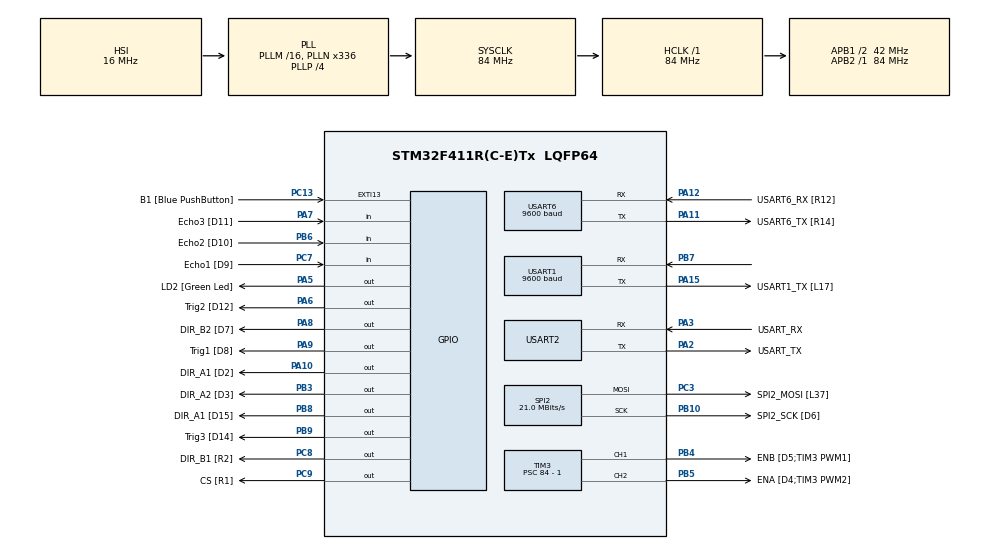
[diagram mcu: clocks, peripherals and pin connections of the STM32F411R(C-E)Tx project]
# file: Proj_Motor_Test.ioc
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Dma.Request0=USART6_RX
Dma.USART6_RX.0.Direction=DMA_PERIPH_TO_MEMORY
Dma.USART6_RX.0.FIFOMode=DMA_FIFOMODE_DISABLE
Dma.USART6_RX.0.Instance=DMA2_Stream1
Dma.USART6_RX.0.MemDataAlignment=DMA_MDATAALIGN_BYTE
Dma.USART6_RX.0.MemInc=DMA_MINC_ENABLE
Dma.USART6_RX.0.Mode=DMA_CIRCULAR
Dma.USART6_RX.0.PeriphDataAlignment=DMA_PDATAALIGN_BYTE
Dma.USART6_RX.0.PeriphInc=DMA_PINC_DISABLE
Dma.USART6_RX.0.Priority=DMA_PRIORITY_LOW
Mcu.Family=STM32F4
Mcu.Name=STM32F411R(C-E)Tx
Mcu.Package=LQFP64
NVIC.DMA2_Stream1_IRQn=true\:0\:0\:false\:false\:true\:false\:true\:true
NVIC.EXTI15_10_IRQn=true\:0\:0\:false\:false\:true\:true\:true\:true
NVIC.PriorityGroup=NVIC_PRIORITYGROUP_0
NVIC.USART6_IRQn=true\:0\:0\:false\:false\:true\:true\:true\:true
PA10.GPIO_Label=DIR_A1 [D2]
PA10.Signal=GPIO_Output
PA11.GPIO_Label=USART6_TX [R14]
PA11.Mode=Asynchronous
PA11.Signal=USART6_TX
PA12.GPIO_Label=USART6_RX [R12]
PA12.Mode=Asynchronous
PA12.Signal=USART6_RX
PA13.GPIO_Label=TMS
PA13.Mode=Serial_Wire
PA13.Signal=SYS_JTMS-SWDIO
PA14.GPIO_Label=TCK
PA14.Mode=Serial_Wire
PA14.Signal=SYS_JTCK-SWCLK
PA15.GPIO_Label=USART1_TX [L17]
PA15.Mode=Asynchronous
PA15.Signal=USART1_TX
PA2.GPIO_Label=USART_TX
PA2.Mode=Asynchronous
PA2.Signal=USART2_TX
PA3.GPIO_Label=USART_RX
PA3.Mode=Asynchronous
PA3.Signal=USART2_RX
PA5.GPIO_Label=LD2 [Green Led]
PA5.Signal=GPIO_Output
PA6.GPIO_Label=Trig2 [D12]
PA6.Signal=GPIO_Output
PA7.GPIO_Label=Echo3 [D11]
PA7.Signal=GPIO_Input
PA8.GPIO_Label=DIR_B2 [D7]
PA8.Signal=GPIO_Output
PA9.GPIO_Label=Trig1 [D8]
PA9.Signal=GPIO_Output
PB10.GPIO_Label=SPI2_SCK [D6]
PB10.Mode=TX_Only_Simplex_Unidirect_Master
PB10.Signal=SPI2_SCK
PB3.GPIO_Label=DIR_A2 [D3]
PB3.Signal=GPIO_Output
PB4.GPIO_Label=ENB [D5;TIM3 PWM1]
PB4.Signal=S_TIM3_CH1
PB5.GPIO_Label=ENA [D4;TIM3 PWM2]
PB5.Signal=S_TIM3_CH2
PB6.GPIO_Label=Echo2 [D10]
PB6.Signal=GPIO_Input
PB7.Mode=Asynchronous
PB7.Signal=USART1_RX
PB8.GPIO_Label=DIR_A1 [D15]
PB8.Signal=GPIO_Output
PB9.GPIO_Label=Trig3 [D14]
PB9.Signal=GPIO_Output
PC13-ANTI_TAMP.GPIO_Label=B1 [Blue PushButton]
PC13-ANTI_TAMP.GPIO_ModeDefaultEXTI=GPIO_MODE_IT_FALLING
PC13-ANTI_TAMP.Signal=GPXTI13
PC14-OSC32_IN.Mode=LSE-External-Oscillator
PC14-OSC32_IN.Signal=RCC_OSC32_IN
PC15-OSC32_OUT.Mode=LSE-External-Oscillator
PC15-OSC32_OUT.Signal=RCC_OSC32_OUT
PC3.GPIO_Label=SPI2_MOSI [L37]
PC3.Mode=TX_Only_Simplex_Unidirect_Master
PC3.Signal=SPI2_MOSI
PC7.GPIO_Label=Echo1 [D9]
PC7.Signal=GPIO_Input
PC8.GPIO_Label=DIR_B1 [R2]
PC8.Signal=GPIO_Output
PC9.GPIO_Label=CS [R1]
PC9.Signal=GPIO_Output
PH0\ -\ OSC_IN.Mode=HSE-External-Clock-Source
PH0\ -\ OSC_IN.Signal=RCC_OSC_IN
PH1\ -\ OSC_OUT.Mode=HSE-External-Clock-Source
PH1\ -\ OSC_OUT.Signal=RCC_OSC_OUT
ProjectManager.HeapSize=0x200
ProjectManager.StackSize=0x400
ProjectManager.TargetToolchain=STM32CubeIDE
RCC.48MHZClocksFreq_Value=84000000
RCC.AHBFreq_Value=84000000
RCC.APB1CLKDivider=RCC_HCLK_DIV2
RCC.APB1Freq_Value=42000000
RCC.APB1TimFreq_Value=84000000
RCC.APB2Freq_Value=84000000
RCC.APB2TimFreq_Value=84000000
RCC.CortexFreq_Value=84000000
RCC.FLatency-AdvancedSettings=FLASH_LATENCY_2
RCC.HCLKFreq_Value=84000000
RCC.HSE_VALUE=8000000
RCC.HSI_VALUE=16000000
RCC.PLLN=336
RCC.PLLP=RCC_PLLP_DIV4
RCC.SYSCLKFreq_VALUE=84000000
RCC.SYSCLKSource=RCC_SYSCLKSOURCE_PLLCLK
RCC.VCOOutputFreq_Value=336000000
SH.S_TIM3_CH1.0=TIM3_CH1,PWM Generation1 CH1
SH.S_TIM3_CH2.0=TIM3_CH2,PWM Generation2 CH2
SPI2.BaudRatePrescaler=SPI_BAUDRATEPRESCALER_2
SPI2.CalculateBaudRate=21.0 MBits/s
SPI2.Direction=SPI_DIRECTION_2LINES
SPI2.Mode=SPI_MODE_MASTER
SPI2.VirtualType=VM_MASTER
TIM2.Prescaler=84 - 1
TIM3.Channel-PWM\ Generation1\ CH1=TIM_CHANNEL_1
TIM3.Channel-PWM\ Generation2\ CH2=TIM_CHANNEL_2
TIM3.Period=1000 - 1
TIM3.Prescaler=84 - 1
USART1.BaudRate=9600
USART1.VirtualMode=VM_ASYNC
USART2.VirtualMode=VM_ASYNC
USART6.BaudRate=9600
USART6.VirtualMode=VM_ASYNC
VP_TIM2_VS_ClockSourceINT.Mode=Internal
VP_TIM3_VS_ClockSourceINT.Mode=Internal
board=NUCLEO-F411RE

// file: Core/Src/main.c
/* USER CODE BEGIN Header */
/**
  ******************************************************************************
  * @file           : main.c
  * @brief          : Main program body
  ******************************************************************************
  * @attention
  *
  * Copyright (c) 2025 STMicroelectronics.
  * All rights reserved.
  *
  * This software is licensed under terms that can be found in the LICENSE file
  * in the root directory of this software component.
  * If no LICENSE file comes with this software, it is provided AS-IS.
  *
  ******************************************************************************
  */
/* USER CODE END Header */
#include "main.h"

/* USER CODE BEGIN Includes */
#include <stdio.h>
/* USER CODE END Includes */

SPI_HandleTypeDef hspi2;

TIM_HandleTypeDef htim2;
TIM_HandleTypeDef htim3;

UART_HandleTypeDef huart1;
UART_HandleTypeDef huart2;
UART_HandleTypeDef huart6;
DMA_HandleTypeDef hdma_usart6_rx;

void SystemClock_Config(void);
static void MX_GPIO_Init(void);
static void MX_DMA_Init(void);
static void MX_USART2_UART_Init(void);
static void MX_TIM2_Init(void);
static void MX_TIM3_Init(void);
static void MX_USART6_UART_Init(void);
static void MX_SPI2_Init(void);
static void MX_USART1_UART_Init(void);

/* USER CODE BEGIN 0 */

int mode = 0;
int ccrL , ccrR;
int duty;
int dutyL, dutyR;

volatile int Time_REF, Time_RT;
// volatile double dist;

void HAL_GPIO_EXTI_Callback(uint16_t GPIO_Pin)
{}

void Micro_Delay(int us)// us : micro-sec (10^-6)
{
	// Consider Overflow Case
	// int t1 = htim2.Instance->CNT;
	htim2.Instance->CNT = 0;
	while( htim2.Instance->CNT <  us );
}

void Trigger1()
{
	// *** Trigger Pulse Gen. *** //
	// HAL_GPIO_WritePin(Pin Group, Pin#, Pin State(H/L));
	HAL_GPIO_WritePin(Trig1_GPIO_Port, Trig1_Pin, 0); // Initial Reset
	Micro_Delay(10); // 10us Delay

	HAL_GPIO_WritePin(Trig1_GPIO_Port, Trig1_Pin, 1); // Trigger Pulse High
	Micro_Delay(10); // 10us Delay

	HAL_GPIO_WritePin(Trig1_GPIO_Port, Trig1_Pin, 0); // Reset
	// *** Trigger Pulse Gen. *** //
	// printf( "Trigger END \r\n" );
}
void Trigger2()
{
	// *** Trigger Pulse Gen. *** //
	// HAL_GPIO_WritePin(Pin Group, Pin#, Pin State(H/L));
	HAL_GPIO_WritePin(Trig2_GPIO_Port, Trig2_Pin, 0); // Initial Reset
	Micro_Delay(10); // 10us Delay

	HAL_GPIO_WritePin(Trig2_GPIO_Port, Trig2_Pin, 1); // Trigger Pulse High
	Micro_Delay(10); // 10us Delay

	HAL_GPIO_WritePin(Trig2_GPIO_Port, Trig2_Pin, 0); // Reset
	// *** Trigger Pulse Gen. *** //
	// printf( "Trigger END \r\n" );
}
void Trigger3()
{
	// *** Trigger Pulse Gen. *** //
	// HAL_GPIO_WritePin(Pin Group, Pin#, Pin State(H/L));
	HAL_GPIO_WritePin(Trig3_GPIO_Port, Trig3_Pin, 0); // Initial Reset
	Micro_Delay(10); // 10us Delay

	HAL_GPIO_WritePin(Trig3_GPIO_Port, Trig3_Pin, 1); // Trigger Pulse High
	Micro_Delay(10); // 10us Delay

	HAL_GPIO_WritePin(Trig3_GPIO_Port, Trig3_Pin, 0); // Reset
	// *** Trigger Pulse Gen. *** //
	// printf( "Trigger END \r\n" );
}

static double dist[3];
double* Distances()
 {
	 // static double dist[3];
	 uint32_t t0, t1, t2, t3, t4, t5, t6;
	 //
	 Trigger1();
	 // t0 = htim2.Instance->CNT;
	 // printf( "%d \r\n", HAL_GPIO_ReadPin(Echo1_GPIO_Port, Echo1_Pin) );
	 while( HAL_GPIO_ReadPin(Echo1_GPIO_Port, Echo1_Pin) == 0 )
	 {
		 // t1 = htim2.Instance->CNT;
		 // printf( "t1 : %d \r\n", t1 );
		if(htim2.Instance->CNT > t0 + 30000)
		{
		   printf( "Timeout : %d %d \r\n", t0, htim2.Instance->CNT );
		   return NULL;
		}
	 }
	 t1 = htim2.Instance->CNT;
	 //printf( "t1 : %d \r\n", t1 );
	 while(HAL_GPIO_ReadPin(Echo1_GPIO_Port, Echo1_Pin) == 1)
	 {
		if(htim2.Instance->CNT > t1 + 30000)
		{
			printf( "Timeout : %d \r\n", htim2.Instance->CNT );
			return NULL;
		}
	 }
	 t2 = htim2.Instance->CNT;
	 //printf( "t2 : %d \r\n", t2 );
	 //
	 Trigger2();
	 t0 = htim2.Instance->CNT;
	 while(HAL_GPIO_ReadPin(Echo2_GPIO_Port, Echo2_Pin) == 0)
	 {
		if(htim2.Instance->CNT > t0 + 30000)
		{
		   return NULL;
		}
	 }
	 t3 = htim2.Instance->CNT;
	 // printf( "t3 : %d \r\n", t3 );
	 while(HAL_GPIO_ReadPin(Echo2_GPIO_Port, Echo2_Pin) == 1)
	 {
		if(htim2.Instance->CNT > t3 + 30000)
		{
		   return NULL;
		}
	 }
	 t4 = htim2.Instance->CNT;
	 // printf( "t4 : %d \r\n", t4 );
	 //
	 Trigger3();
	 t0 = htim2.Instance->CNT;
	 while(HAL_GPIO_ReadPin(Echo3_GPIO_Port, Echo3_Pin) == 0)
	 {
		if(htim2.Instance->CNT > t0 + 30000)
		{
		   return NULL;
		}
	 }
	 t5 = htim2.Instance->CNT;
	 // printf( "t5 : %d \r\n", t5 );
	 while(HAL_GPIO_ReadPin(Echo3_GPIO_Port, Echo3_Pin) == 1)
	 {
		if(htim2.Instance->CNT > t5 + 30000)
		{
		   return NULL;
		}
	 }
	 t6 = htim2.Instance->CNT;
	 // printf( "t6 : %d \r\n", t6 );
	 //
	 dist[0] =(t2 - t1)*0.17;
	 dist[1] =(t4 - t3)*0.17;
	 dist[2] =(t6 - t5)*0.17;

	 // printf( "Distance END \r\n" );
	 return dist;
}

void Forward()
{
	  HAL_GPIO_WritePin(DIR_A1_GPIO_Port, DIR_A1_Pin, 1); // DIR_A1 = 'H'
	  HAL_GPIO_WritePin(DIR_A2_GPIO_Port, DIR_A2_Pin, 0); // DIR_A2 = 'L'

	  HAL_GPIO_WritePin(DIR_B1_GPIO_Port, DIR_B1_Pin, 1); // DIR_B1 = 'H'
	  HAL_GPIO_WritePin(DIR_B2_GPIO_Port, DIR_B2_Pin, 0); // DIR_B2 = 'L'

   	   dutyL = 35; dutyR = 35;
   	   ccrL = (htim3.Instance->ARR + 1)  * dutyL / 100;
   	   ccrR = (htim3.Instance->ARR + 1) * dutyR / 100;
   	   htim3.Instance->CCR2 = ccrL - 1;
   	   htim3.Instance->CCR1 = ccrR - 1;
}

void Left()
{
	  HAL_GPIO_WritePin(DIR_A1_GPIO_Port, DIR_A1_Pin, 1); // DIR_A1 = 'H'
	  HAL_GPIO_WritePin(DIR_A2_GPIO_Port, DIR_A2_Pin, 0); // DIR_A2 = 'L'

	  HAL_GPIO_WritePin(DIR_B1_GPIO_Port, DIR_B1_Pin, 1); // DIR_B1 = 'H'
	  HAL_GPIO_WritePin(DIR_B2_GPIO_Port, DIR_B2_Pin, 0); // DIR_B2 = 'L'

   dutyL = 5; dutyR = 40;
   ccrL = (htim3.Instance->ARR + 1)  * dutyL / 100;
   ccrR = (htim3.Instance->ARR + 1) * dutyR / 100;
   htim3.Instance->CCR2 = ccrL - 1;
   htim3.Instance->CCR1 = ccrR - 1;
}
void Right()
{
	  HAL_GPIO_WritePin(DIR_A1_GPIO_Port, DIR_A1_Pin, 1); // DIR_A1 = 'H'
	  HAL_GPIO_WritePin(DIR_A2_GPIO_Port, DIR_A2_Pin, 0); // DIR_A2 = 'L'

	  HAL_GPIO_WritePin(DIR_B1_GPIO_Port, DIR_B1_Pin, 1); // DIR_B1 = 'H'
	  HAL_GPIO_WritePin(DIR_B2_GPIO_Port, DIR_B2_Pin, 0); // DIR_B2 = 'L'

   dutyL = 40; dutyR = 5;
   ccrL = (htim3.Instance->ARR + 1)  * dutyL / 100;
   ccrR = (htim3.Instance->ARR + 1) * dutyR / 100;
   htim3.Instance->CCR2 = ccrL - 1;
   htim3.Instance->CCR1 = ccrR - 1;
}
void Reverse()
{
	  HAL_GPIO_WritePin(DIR_A1_GPIO_Port, DIR_A1_Pin, 0); // DIR_A1 = 'L'
	  HAL_GPIO_WritePin(DIR_A2_GPIO_Port, DIR_A2_Pin, 1); // DIR_A2 = 'H'

	  HAL_GPIO_WritePin(DIR_B1_GPIO_Port, DIR_B1_Pin, 0); // DIR_B1 = 'L'
	  HAL_GPIO_WritePin(DIR_B2_GPIO_Port, DIR_B2_Pin, 1); // DIR_B2 = 'H'

   dutyL = 40; dutyR = 40;
   ccrL = (htim3.Instance->ARR + 1)  * dutyL / 100;
   ccrR = (htim3.Instance->ARR + 1) * dutyR / 100;
   htim3.Instance->CCR2 = ccrL - 1;
   htim3.Instance->CCR1 = ccrR - 1;
}

void Stop()
{
	  HAL_GPIO_WritePin(DIR_A1_GPIO_Port, DIR_A1_Pin, 1); // DIR_A1 = 'H'
	  HAL_GPIO_WritePin(DIR_A2_GPIO_Port, DIR_A2_Pin, 0); // DIR_A2 = 'L'

	  HAL_GPIO_WritePin(DIR_B1_GPIO_Port, DIR_B1_Pin, 1); // DIR_B1 = 'H'
	  HAL_GPIO_WritePin(DIR_B2_GPIO_Port, DIR_B2_Pin, 0); // DIR_B2 = 'L'

   dutyL = 5; dutyR = 5;
   ccrL = (htim3.Instance->ARR + 1)  * dutyL / 100;
   ccrR = (htim3.Instance->ARR + 1) * dutyR / 100;
   htim3.Instance->CCR2 = ccrL - 1;
   htim3.Instance->CCR1 = ccrR - 1;
}

#define BUF_SIZE 100
char buf1[BUF_SIZE], buf2[BUF_SIZE]; // DMA Buffer
char dum1, dum2;
int head1 = 0, head2 = 0, tail1 = 0, tail2 = 0;
void HAL_UART_RxCpltCallback(UART_HandleTypeDef *huart)
{
	if(huart == &huart6)
	{
		buf1[tail1++] = dum1;
		HAL_UART_Transmit(&huart2, &dum1/*== buf1+t1-1*/, 1, 10);		// putty print
		if(dum1 == '\r')		// End of Line
		{
			CheckCMD(buf1);
			tail1 = 0;
		}
		HAL_UART_Receive_IT(&huart6, &dum1, 1);			// interrupt chain
	}
	else if(huart == &huart2)
	{
		buf2[tail2++] = dum2;
		HAL_UART_Transmit(&huart2, &dum2, 1, 10); // terminal echo
		if(dum2 == '\r')  // CR : 0x0d
		{
			HAL_UART_Transmit(&huart2, "\n", 1, 10); // terminal echo

			buf2[tail2++] = '\n'; // == HAL_UART_Transmit(&huart1, "\n", 1, 10);
			HAL_UART_Transmit(&huart6, buf2, tail2, 10);	// AT Command
//			HAL_UART_Transmit(&huart1, "\n", 1, 10);
			tail2 = 0;
		}
		HAL_UART_Receive_IT(&huart2, &dum2, 1);			// interrupt chain
	}
}

char * Trim(char *s) // s = "    xx x \t \r\n" ==> "xx x"
{
	int trim_head = 0, trim_tail = strlen(s) - 1;
	while(*(s + trim_head) == ' ' || *(s + trim_head) == '\r' || *(s + trim_head) == '\n' || *(s + trim_head) == '\t') trim_head++;
//	{
//		if(*(s + trim_head) == ' ' || *(s + trim_head) == '\r' || *(s + trim_head) == '\n' || *(s + trim_head) == '\t') trim_head++;
//		else break;
//	}
	while(*(s + trim_tail) == ' ' || *(s + trim_tail) == '\r' || *(s + trim_tail) == '\n' || *(s + trim_tail) == '\t') trim_tail--;
//	{
//		if(*(s + trim_tail) == ' ' || *(s + trim_tail) == '\r' || *(s + trim_tail) == '\n' || *(s + trim_tail) == '\t') trim_tail--;
//		else break;
//	}
	char *dest = (char *) malloc(trim_tail - trim_head + 1);
	strncpy(dest, (s + trim_head), (trim_tail - trim_head + 1));
	return dest;
}

void CheckCMD(char *bb)
{
	char *str = Trim(bb);
//	char * str = Trim(bb); //Trim : white space remove
//	Trim_EX(str,bb);
	ToUpper(str);
	if(strncmp(str, "MODE", 4) == 0)
	{
		str = Trim(str+4);
		if(str[0] == '1')
			mode = 1;
		else if(str[0] == '0')
			mode = 0;
	}
	else if(strncmp(str, "MOVE", 4) == 0 && mode == 0)
	{
		str = Trim(str+4);
		if(str[0] == '0')
			Stop();
		else if(str[0] == '1')
			Forward();
		else if(str[0] == '2')
			Reverse();
		else if(str[0] == '3')
			Left();
		else if(str[0] == '4')
			Right();
	}
}

#define NUM_MAX7219  4
#define MAX7219_REG_NOOP        0x00
#define MAX7219_REG_DIGIT0      0x01
#define MAX7219_REG_DIGIT1      0x02
#define MAX7219_REG_DIGIT2      0x03
#define MAX7219_REG_DIGIT3      0x04
#define MAX7219_REG_DIGIT4      0x05
#define MAX7219_REG_DIGIT5      0x06
#define MAX7219_REG_DIGIT6      0x07
#define MAX7219_REG_DIGIT7      0x08
#define MAX7219_REG_DECODEMODE  0x09
#define MAX7219_REG_INTENSITY   0x0A
#define MAX7219_REG_SCANLIMIT   0x0B
#define MAX7219_REG_SHUTDOWN    0x0C
#define MAX7219_REG_DISPLAYTEST 0x0F

void MAX7219_WriteReg(uint8_t reg, uint8_t data) {
    //
    uint8_t txData[2];
    txData[0] = reg;
    txData[1] = data;

    HAL_SPI_Transmit(&hspi2, txData, 2, HAL_MAX_DELAY);
}

void MAX7219_InitMatrix(void) {
	HAL_GPIO_WritePin(CS_GPIO_Port, CS_Pin, GPIO_PIN_SET);
	//
	HAL_Delay(1);
	// SHUTDOWN
	HAL_GPIO_WritePin(CS_GPIO_Port, CS_Pin, GPIO_PIN_RESET);
	for( int chip=0; chip < NUM_MAX7219; chip++ )
	{
		MAX7219_WriteReg(MAX7219_REG_SHUTDOWN, 0x01);
	}
	HAL_GPIO_WritePin(CS_GPIO_Port, CS_Pin, GPIO_PIN_SET);
	HAL_Delay(1);
	// DISPLAYTEST
	HAL_GPIO_WritePin(CS_GPIO_Port, CS_Pin, GPIO_PIN_RESET);
	for( int chip=0; chip < NUM_MAX7219; chip++ )
	{
		MAX7219_WriteReg(MAX7219_REG_DISPLAYTEST, 0x00);
	}
	HAL_GPIO_WritePin(CS_GPIO_Port, CS_Pin, GPIO_PIN_SET);
	HAL_Delay(1);
	// SCANLIMIT
	HAL_GPIO_WritePin(CS_GPIO_Port, CS_Pin, GPIO_PIN_RESET);
	for( int chip=0; chip < NUM_MAX7219; chip++ )
	{
		MAX7219_WriteReg(MAX7219_REG_SCANLIMIT, 0x07);
	}
	HAL_GPIO_WritePin(CS_GPIO_Port, CS_Pin, GPIO_PIN_SET);
	HAL_Delay(1);
	// DECODEMODE
	HAL_GPIO_WritePin(CS_GPIO_Port, CS_Pin, GPIO_PIN_RESET);
	for( int chip=0; chip < NUM_MAX7219; chip++ )
	{
		MAX7219_WriteReg(MAX7219_REG_DECODEMODE, 0x00);
	}
	HAL_GPIO_WritePin(CS_GPIO_Port, CS_Pin, GPIO_PIN_SET);
	HAL_Delay(1);
	// INTENSITY
	HAL_GPIO_WritePin(CS_GPIO_Port, CS_Pin, GPIO_PIN_RESET);
	for( int chip=0; chip < NUM_MAX7219; chip++ )
	{
		MAX7219_WriteReg(MAX7219_REG_INTENSITY, 0x07);
	}
	HAL_GPIO_WritePin(CS_GPIO_Port, CS_Pin, GPIO_PIN_SET);
	HAL_Delay(1);

	for (int row = 0; row < 8; row++)
	{
		HAL_GPIO_WritePin(CS_GPIO_Port, CS_Pin, GPIO_PIN_RESET);
		for(int chip=0; chip < NUM_MAX7219; chip++)
		{
			MAX7219_WriteReg(MAX7219_REG_DIGIT0 + row, 0);
		}
		HAL_GPIO_WritePin(CS_GPIO_Port, CS_Pin, GPIO_PIN_SET);
		HAL_Delay(1);
	}
}

#define DFPLAYER_NEXT          0x01
#define DFPLAYER_PREV          0x02
#define DFPLAYER_PLAY          0x0D
#define DFPLAYER_PAUSE         0x0E
#define DFPLAYER_VOLUME        0x06
#define DFPLAYER_SELECT_TRACK  0x03
#define DFPLAYER_EQ            0x07
#define DFPLAYER_RESET         0x0C

void DFPlayer_Send_Cmd(uint8_t cmd, uint16_t param) {
    uint8_t buffer[10];
    uint16_t checksum;

    buffer[0] = 0x7E;   // Start byte
    buffer[1] = 0xFF;   // Version
    buffer[2] = 0x06;   // Length
    buffer[3] = cmd;    // Command
    buffer[4] = 0x00;   // Feedback (0: No feedback, 1: Feedback)
    buffer[5] = (uint8_t)(param >> 8);  // Parameter (High byte)
    buffer[6] = (uint8_t)(param & 0xFF); // Parameter (Low byte)

    // Checksum
    checksum = 0;
    for (int i = 1; i < 7; i++) {
        checksum += buffer[i];
    }
    checksum = 0 - checksum;
    buffer[7] = (uint8_t)(checksum >> 8);   // Checksum (High byte)
    buffer[8] = (uint8_t)(checksum & 0xFF);  // Checksum (Low byte)
    buffer[9] = 0xEF;   // End byte

    HAL_UART_Transmit(&huart1, buffer, 10, 100); // UART
    HAL_Delay(20); //DFPlayer
}

//
void DFPlayer_Play_Track(uint16_t track_number) {
     DFPlayer_Send_Cmd(DFPLAYER_SELECT_TRACK, track_number);
}

// (0 ~ 30)
void DFPlayer_Set_Volume(uint8_t volume) {
    DFPlayer_Send_Cmd(DFPLAYER_VOLUME, volume);
}

/* USER CODE END 0 */

int main(void)
{

  /* MCU Configuration--------------------------------------------------------*/

  /* Reset of all peripherals, Initializes the Flash interface and the Systick. */
  HAL_Init();

  /* Configure the system clock */
  SystemClock_Config();

  /* Initialize all configured peripherals */
  MX_GPIO_Init();
  MX_DMA_Init();
  MX_USART2_UART_Init();
  MX_TIM2_Init();
  MX_TIM3_Init();
  MX_USART6_UART_Init();
  MX_SPI2_Init();
  MX_USART1_UART_Init();
  /* USER CODE BEGIN 2 */
  MAX7219_InitMatrix(); // Initialization
  ProgramStart( "Project : Motor Control" );

  // *** Motor Default Setting *** //
  // Rotation Direction :  (Default) Both Clockwise
  HAL_GPIO_WritePin(DIR_A1_GPIO_Port, DIR_A1_Pin, 1); // DIR_A1 = 'H'
  HAL_GPIO_WritePin(DIR_A2_GPIO_Port, DIR_A2_Pin, 0); // DIR_A2 = 'L'

  HAL_GPIO_WritePin(DIR_B1_GPIO_Port, DIR_B1_Pin, 1); // DIR_B1 = 'H'
  HAL_GPIO_WritePin(DIR_B2_GPIO_Port, DIR_B2_Pin, 0); // DIR_B2 = 'L'

  // Rotation Speed :  (Default) Both Duty 30%
  duty = 40;
  ccrL = (htim3.Instance->ARR + 1)  * duty / 100;
  ccrR = (htim3.Instance->ARR + 1) * duty / 100;
  htim3.Instance->CCR2 = ccrL - 1;
  htim3.Instance->CCR1 = ccrR - 1;
  //

  // TIM Start
  // HAL_TIM_PWM_Start(&htim11, TIM_CHANNEL_1); // Start TIM11 CH1 for Trigger PWM Signal
  HAL_TIM_Base_Start(&htim2);
  HAL_TIM_PWM_Start(&htim3, TIM_CHANNEL_2); // Start TIM3 CH2 for ENA PWM Signal
  HAL_TIM_PWM_Start(&htim3, TIM_CHANNEL_1); // Start TIM3 CH1 for ENB PWM Signal
  HAL_UART_Receive_IT(&huart6, &dum1, 1);
  HAL_UART_Receive_IT(&huart2, &dum2, 1);

  uint8_t matrixData[4][8] = {0};

  	//
	matrixData[0][0] = 0b10001011;
	matrixData[0][1] = 0b10001010;
	matrixData[0][2] = 0b10001010;
	matrixData[0][3] = 0b11111011;
	matrixData[0][4] = 0b10001010;
	matrixData[0][5] = 0b10001010;
	matrixData[0][6] = 0b10001011;
	matrixData[0][7] = 0b00000000;

	matrixData[1][0] = 0b11101000;
	matrixData[1][1] = 0b00001000;
	matrixData[1][2] = 0b00001000;
	matrixData[1][3] = 0b11001000;
	matrixData[1][4] = 0b00001000;
	matrixData[1][5] = 0b00001000;
	matrixData[1][6] = 0b11101111;
	matrixData[1][7] = 0b00000000;

	matrixData[2][0] = 0b00100000;
	matrixData[2][1] = 0b00100000;
	matrixData[2][2] = 0b00100000;
	matrixData[2][3] = 0b00100000;
	matrixData[2][4] = 0b00100000;
	matrixData[2][5] = 0b00100000;
	matrixData[2][6] = 0b10111110;
	matrixData[2][7] = 0b00000000;

	matrixData[3][0] = 0b01110000;
	matrixData[3][1] = 0b10001000;
	matrixData[3][2] = 0b10001000;
	matrixData[3][3] = 0b10001000;
	matrixData[3][4] = 0b10001000;
	matrixData[3][5] = 0b10001000;
	matrixData[3][6] = 0b01110000;
	matrixData[3][7] = 0b00000000;
	//

	for (int row = 0; row < 8; row++)
	{
		HAL_GPIO_WritePin(CS_GPIO_Port, CS_Pin, GPIO_PIN_RESET);
		for(int chip=0; chip < NUM_MAX7219; chip++)
		{
			MAX7219_WriteReg(MAX7219_REG_DIGIT0 + row, matrixData[chip][row]);
		}
		HAL_GPIO_WritePin(CS_GPIO_Port, CS_Pin, GPIO_PIN_SET);
		HAL_Delay(1);
	}

	// HAL_Delay(200);
	DFPlayer_Send_Cmd(DFPLAYER_RESET, 0);
	HAL_Delay(1000);
	DFPlayer_Set_Volume(20); // (0~30)
	HAL_Delay(100);
	DFPlayer_Play_Track(1);
	HAL_Delay(400);
	DFPlayer_Send_Cmd(0x11, 1); // repeat
	HAL_Delay(100);

  /* USER CODE END 2 */

  /* Infinite loop */
  /* USER CODE BEGIN WHILE */
  while (1)
  {
	  // [1] Ultra-sonic Sensor

	  // [2] Distance Check & Motor Control
	  // static double dist[3];
	  // dist[0] : Left
	  // dist[1] : Forward
	  // dist[2] : Right
	  if(mode == 1)
	  {
		  Distances();
		  //
		  if ( dist[0] < 100 ) // Near to Left
			  {
				  Right();
				  printf("Left \r\n");
			  }
		  else if ( dist[2] < 100 ) // Near to Right
			  {
				  Left();
				  printf("Right \r\n");
			  }
		  //
		  else if ( dist[0] > 350 ) // Far from Left
			  {
				  Left();
				  printf("Left \r\n");
			  }
		  else if ( dist[1] > 350 ) // No Obstacle at Front
			  {
				  Forward();
				  printf("Forward \r\n");
			  }
		  else if ( dist[2] > 350 ) // Far from Right
			  {
				  Right();
				  printf("Right \r\n");
			  }
		  //
		  else
			  Reverse();
	  }

	  /*
	  if ( dist[0] < 350 ) { Right(); printf("Left \r\n"); }
	  else if ( dist[1] < 350 ) { Reverse(); printf("Forward \r\n"); }
	  else if ( dist[2] < 350 ) { Left(); printf("Right \r\n"); }
	  else Forward();
	  */
	  printf( "Dist : %f  %f %f\r\n",dist[0], dist[1], dist[2] );

    /* USER CODE END WHILE */

  }
}

void SystemClock_Config(void)
{
  RCC_OscInitTypeDef RCC_OscInitStruct = {0};
  RCC_ClkInitTypeDef RCC_ClkInitStruct = {0};

  /** Configure the main internal regulator output voltage
  */
  __HAL_RCC_PWR_CLK_ENABLE();
  __HAL_PWR_VOLTAGESCALING_CONFIG(PWR_REGULATOR_VOLTAGE_SCALE1);

  /** Initializes the RCC Oscillators according to the specified parameters
  * in the RCC_OscInitTypeDef structure.
  */
  RCC_OscInitStruct.OscillatorType = RCC_OSCILLATORTYPE_HSI;
  RCC_OscInitStruct.HSIState = RCC_HSI_ON;
  RCC_OscInitStruct.HSICalibrationValue = RCC_HSICALIBRATION_DEFAULT;
  RCC_OscInitStruct.PLL.PLLState = RCC_PLL_ON;
  RCC_OscInitStruct.PLL.PLLSource = RCC_PLLSOURCE_HSI;
  RCC_OscInitStruct.PLL.PLLM = 16;
  RCC_OscInitStruct.PLL.PLLN = 336;
  RCC_OscInitStruct.PLL.PLLP = RCC_PLLP_DIV4;
  RCC_OscInitStruct.PLL.PLLQ = 4;
  if (HAL_RCC_OscConfig(&RCC_OscInitStruct) != HAL_OK)
  {
    Error_Handler();
  }

  /** Initializes the CPU, AHB and APB buses clocks
  */
  RCC_ClkInitStruct.ClockType = RCC_CLOCKTYPE_HCLK|RCC_CLOCKTYPE_SYSCLK
                              |RCC_CLOCKTYPE_PCLK1|RCC_CLOCKTYPE_PCLK2;
  RCC_ClkInitStruct.SYSCLKSource = RCC_SYSCLKSOURCE_PLLCLK;
  RCC_ClkInitStruct.AHBCLKDivider = RCC_SYSCLK_DIV1;
  RCC_ClkInitStruct.APB1CLKDivider = RCC_HCLK_DIV2;
  RCC_ClkInitStruct.APB2CLKDivider = RCC_HCLK_DIV1;

  if (HAL_RCC_ClockConfig(&RCC_ClkInitStruct, FLASH_LATENCY_2) != HAL_OK)
  {
    Error_Handler();
  }
}

static void MX_SPI2_Init(void)
{

  /* SPI2 parameter configuration*/
  hspi2.Instance = SPI2;
  hspi2.Init.Mode = SPI_MODE_MASTER;
  hspi2.Init.Direction = SPI_DIRECTION_2LINES;
  hspi2.Init.DataSize = SPI_DATASIZE_8BIT;
  hspi2.Init.CLKPolarity = SPI_POLARITY_LOW;
  hspi2.Init.CLKPhase = SPI_PHASE_1EDGE;
  hspi2.Init.NSS = SPI_NSS_SOFT;
  hspi2.Init.BaudRatePrescaler = SPI_BAUDRATEPRESCALER_2;
  hspi2.Init.FirstBit = SPI_FIRSTBIT_MSB;
  hspi2.Init.TIMode = SPI_TIMODE_DISABLE;
  hspi2.Init.CRCCalculation = SPI_CRCCALCULATION_DISABLE;
  hspi2.Init.CRCPolynomial = 10;
  if (HAL_SPI_Init(&hspi2) != HAL_OK)
  {
    Error_Handler();
  }

}

static void MX_TIM2_Init(void)
{

  TIM_ClockConfigTypeDef sClockSourceConfig = {0};
  TIM_MasterConfigTypeDef sMasterConfig = {0};

  htim2.Instance = TIM2;
  htim2.Init.Prescaler = 84 - 1;
  htim2.Init.CounterMode = TIM_COUNTERMODE_UP;
  htim2.Init.Period = 4294967295;
  htim2.Init.ClockDivision = TIM_CLOCKDIVISION_DIV1;
  htim2.Init.AutoReloadPreload = TIM_AUTORELOAD_PRELOAD_DISABLE;
  if (HAL_TIM_Base_Init(&htim2) != HAL_OK)
  {
    Error_Handler();
  }
  sClockSourceConfig.ClockSource = TIM_CLOCKSOURCE_INTERNAL;
  if (HAL_TIM_ConfigClockSource(&htim2, &sClockSourceConfig) != HAL_OK)
  {
    Error_Handler();
  }
  sMasterConfig.MasterOutputTrigger = TIM_TRGO_RESET;
  sMasterConfig.MasterSlaveMode = TIM_MASTERSLAVEMODE_DISABLE;
  if (HAL_TIMEx_MasterConfigSynchronization(&htim2, &sMasterConfig) != HAL_OK)
  {
    Error_Handler();
  }

}

static void MX_TIM3_Init(void)
{

  TIM_ClockConfigTypeDef sClockSourceConfig = {0};
  TIM_MasterConfigTypeDef sMasterConfig = {0};
  TIM_OC_InitTypeDef sConfigOC = {0};

  htim3.Instance = TIM3;
  htim3.Init.Prescaler = 84 - 1;
  htim3.Init.CounterMode = TIM_COUNTERMODE_UP;
  htim3.Init.Period = 1000 - 1;
  htim3.Init.ClockDivision = TIM_CLOCKDIVISION_DIV1;
  htim3.Init.AutoReloadPreload = TIM_AUTORELOAD_PRELOAD_DISABLE;
  if (HAL_TIM_Base_Init(&htim3) != HAL_OK)
  {
    Error_Handler();
  }
  sClockSourceConfig.ClockSource = TIM_CLOCKSOURCE_INTERNAL;
  if (HAL_TIM_ConfigClockSource(&htim3, &sClockSourceConfig) != HAL_OK)
  {
    Error_Handler();
  }
  if (HAL_TIM_PWM_Init(&htim3) != HAL_OK)
  {
    Error_Handler();
  }
  sMasterConfig.MasterOutputTrigger = TIM_TRGO_RESET;
  sMasterConfig.MasterSlaveMode = TIM_MASTERSLAVEMODE_DISABLE;
  if (HAL_TIMEx_MasterConfigSynchronization(&htim3, &sMasterConfig) != HAL_OK)
  {
    Error_Handler();
  }
  sConfigOC.OCMode = TIM_OCMODE_PWM1;
  sConfigOC.Pulse = 0;
  sConfigOC.OCPolarity = TIM_OCPOLARITY_HIGH;
  sConfigOC.OCFastMode = TIM_OCFAST_DISABLE;
  if (HAL_TIM_PWM_ConfigChannel(&htim3, &sConfigOC, TIM_CHANNEL_1) != HAL_OK)
  {
    Error_Handler();
  }
  if (HAL_TIM_PWM_ConfigChannel(&htim3, &sConfigOC, TIM_CHANNEL_2) != HAL_OK)
  {
    Error_Handler();
  }
  HAL_TIM_MspPostInit(&htim3);

}

static void MX_USART1_UART_Init(void)
{

  huart1.Instance = USART1;
  huart1.Init.BaudRate = 9600;
  huart1.Init.WordLength = UART_WORDLENGTH_8B;
  huart1.Init.StopBits = UART_STOPBITS_1;
  huart1.Init.Parity = UART_PARITY_NONE;
  huart1.Init.Mode = UART_MODE_TX_RX;
  huart1.Init.HwFlowCtl = UART_HWCONTROL_NONE;
  huart1.Init.OverSampling = UART_OVERSAMPLING_16;
  if (HAL_UART_Init(&huart1) != HAL_OK)
  {
    Error_Handler();
  }

}

static void MX_USART2_UART_Init(void)
{

  huart2.Instance = USART2;
  huart2.Init.BaudRate = 115200;
  huart2.Init.WordLength = UART_WORDLENGTH_8B;
  huart2.Init.StopBits = UART_STOPBITS_1;
  huart2.Init.Parity = UART_PARITY_NONE;
  huart2.Init.Mode = UART_MODE_TX_RX;
  huart2.Init.HwFlowCtl = UART_HWCONTROL_NONE;
  huart2.Init.OverSampling = UART_OVERSAMPLING_16;
  if (HAL_UART_Init(&huart2) != HAL_OK)
  {
    Error_Handler();
  }

}

static void MX_USART6_UART_Init(void)
{

  huart6.Instance = USART6;
  huart6.Init.BaudRate = 9600;
  huart6.Init.WordLength = UART_WORDLENGTH_8B;
  huart6.Init.StopBits = UART_STOPBITS_1;
  huart6.Init.Parity = UART_PARITY_NONE;
  huart6.Init.Mode = UART_MODE_TX_RX;
  huart6.Init.HwFlowCtl = UART_HWCONTROL_NONE;
  huart6.Init.OverSampling = UART_OVERSAMPLING_16;
  if (HAL_UART_Init(&huart6) != HAL_OK)
  {
    Error_Handler();
  }

}

static void MX_DMA_Init(void)
{

  /* DMA controller clock enable */
  __HAL_RCC_DMA2_CLK_ENABLE();

  /* DMA interrupt init */
  /* DMA2_Stream1_IRQn interrupt configuration */
  HAL_NVIC_SetPriority(DMA2_Stream1_IRQn, 0, 0);
  HAL_NVIC_EnableIRQ(DMA2_Stream1_IRQn);

}

static void MX_GPIO_Init(void)
{
  GPIO_InitTypeDef GPIO_InitStruct = {0};

  /* GPIO Ports Clock Enable */
  __HAL_RCC_GPIOC_CLK_ENABLE();
  __HAL_RCC_GPIOH_CLK_ENABLE();
  __HAL_RCC_GPIOA_CLK_ENABLE();
  __HAL_RCC_GPIOB_CLK_ENABLE();

  /*Configure GPIO pin Output Level */
  HAL_GPIO_WritePin(GPIOA, LD2_Pin|Trig2_Pin|DIR_B2_Pin|Trig1_Pin
                          |DIR_A1_Pin, GPIO_PIN_RESET);

  /*Configure GPIO pin Output Level */
  HAL_GPIO_WritePin(GPIOC, DIR_B1_Pin|CS_Pin, GPIO_PIN_RESET);

  /*Configure GPIO pin Output Level */
  HAL_GPIO_WritePin(GPIOB, DIR_A2_Pin|DIR_A1B8_Pin|Trig3_Pin, GPIO_PIN_RESET);

  /*Configure GPIO pin : B1_Pin */
  GPIO_InitStruct.Pin = B1_Pin;
  GPIO_InitStruct.Mode = GPIO_MODE_IT_FALLING;
  GPIO_InitStruct.Pull = GPIO_NOPULL;
  HAL_GPIO_Init(B1_GPIO_Port, &GPIO_InitStruct);

  /*Configure GPIO pins : LD2_Pin Trig2_Pin DIR_B2_Pin Trig1_Pin
                           DIR_A1_Pin */
  GPIO_InitStruct.Pin = LD2_Pin|Trig2_Pin|DIR_B2_Pin|Trig1_Pin
                          |DIR_A1_Pin;
  GPIO_InitStruct.Mode = GPIO_MODE_OUTPUT_PP;
  GPIO_InitStruct.Pull = GPIO_NOPULL;
  GPIO_InitStruct.Speed = GPIO_SPEED_FREQ_LOW;
  HAL_GPIO_Init(GPIOA, &GPIO_InitStruct);

  /*Configure GPIO pin : Echo3_Pin */
  GPIO_InitStruct.Pin = Echo3_Pin;
  GPIO_InitStruct.Mode = GPIO_MODE_INPUT;
  GPIO_InitStruct.Pull = GPIO_NOPULL;
  HAL_GPIO_Init(Echo3_GPIO_Port, &GPIO_InitStruct);

  /*Configure GPIO pin : Echo1_Pin */
  GPIO_InitStruct.Pin = Echo1_Pin;
  GPIO_InitStruct.Mode = GPIO_MODE_INPUT;
  GPIO_InitStruct.Pull = GPIO_NOPULL;
  HAL_GPIO_Init(Echo1_GPIO_Port, &GPIO_InitStruct);

  /*Configure GPIO pins : DIR_B1_Pin CS_Pin */
  GPIO_InitStruct.Pin = DIR_B1_Pin|CS_Pin;
  GPIO_InitStruct.Mode = GPIO_MODE_OUTPUT_PP;
  GPIO_InitStruct.Pull = GPIO_NOPULL;
  GPIO_InitStruct.Speed = GPIO_SPEED_FREQ_LOW;
  HAL_GPIO_Init(GPIOC, &GPIO_InitStruct);

  /*Configure GPIO pins : DIR_A2_Pin DIR_A1B8_Pin Trig3_Pin */
  GPIO_InitStruct.Pin = DIR_A2_Pin|DIR_A1B8_Pin|Trig3_Pin;
  GPIO_InitStruct.Mode = GPIO_MODE_OUTPUT_PP;
  GPIO_InitStruct.Pull = GPIO_NOPULL;
  GPIO_InitStruct.Speed = GPIO_SPEED_FREQ_LOW;
  HAL_GPIO_Init(GPIOB, &GPIO_InitStruct);

  /*Configure GPIO pin : Echo2_Pin */
  GPIO_InitStruct.Pin = Echo2_Pin;
  GPIO_InitStruct.Mode = GPIO_MODE_INPUT;
  GPIO_InitStruct.Pull = GPIO_NOPULL;
  HAL_GPIO_Init(Echo2_GPIO_Port, &GPIO_InitStruct);

  /* EXTI interrupt init*/
  HAL_NVIC_SetPriority(EXTI15_10_IRQn, 0, 0);
  HAL_NVIC_EnableIRQ(EXTI15_10_IRQn);

}

void Error_Handler(void)
{
  __disable_irq();
  while (1)
  {
  }
}
